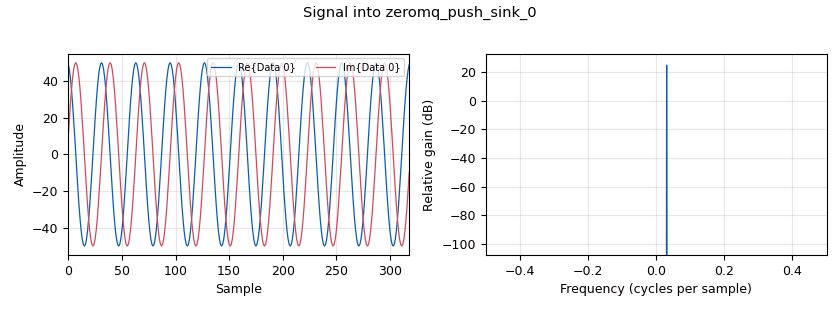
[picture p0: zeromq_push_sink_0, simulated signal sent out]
<?xml version='1.0' encoding='utf-8'?>
<?grc format='1' created='3.7.9'?>
<flow_graph>
<block>
<key>options</key>
<param><key>id</key><value>zmq_sine_test</value></param>
<param><key>category</key><value>Custom</value></param>
<param><key>generate_options</key><value>no_gui</value></param>
</block>
<block>
<key>variable</key>
<param><key>id</key><value>amplitude</value></param>
<param><key>value</key><value>50</value></param>
</block>
<block>
<key>variable</key>
<param><key>id</key><value>frequency</value></param>
<param><key>value</key><value>1000</value></param>
</block>
<block>
<key>variable</key>
<param><key>id</key><value>offset</value></param>
<param><key>value</key><value>0</value></param>
</block>
<block>
<key>variable</key>
<param><key>id</key><value>samp_rate</value></param>
<param><key>value</key><value>32000</value></param>
</block>
<block>
<key>analog_sig_source_x</key>
<param><key>id</key><value>analog_sig_source_x_0</value></param>
<param><key>amp</key><value>amplitude</value></param>
<param><key>freq</key><value>frequency</value></param>
<param><key>offset</key><value>offset</value></param>
<param><key>type</key><value>complex</value></param>
<param><key>samp_rate</key><value>samp_rate</value></param>
<param><key>waveform</key><value>analog.GR_COS_WAVE</value></param>
</block>
<block>
<key>baz_xmlrpc_server</key>
<param><key>id</key><value>baz_xmlrpc_server_0</value></param>
<param><key>addr</key><value>192.168.10.2</value></param>
<param><key>port</key><value>30000</value></param>
<param><key>sigs</key><value>{}</value></param>
</block>
<block>
<key>blocks_throttle</key>
<param><key>id</key><value>blocks_throttle_0</value></param>
<param><key>samples_per_second</key><value>samp_rate</value></param>
<param><key>type</key><value>complex</value></param>
</block>
<block>
<key>qtgui_freq_sink_x</key>
<param><key>id</key><value>qtgui_freq_sink_x_0</value></param>
<param><key>bw</key><value>samp_rate</value></param>
<param><key>fc</key><value>frequency</value></param>
<param><key>_enabled</key><value>0</value></param>
<param><key>fftsize</key><value>1024</value></param>
<param><key>showports</key><value>True</value></param>
<param><key>type</key><value>complex</value></param>
<param><key>wintype</key><value>firdes.WIN_BLACKMAN_hARRIS</value></param>
</block>
<block>
<key>qtgui_time_sink_x</key>
<param><key>id</key><value>qtgui_time_sink_x_0</value></param>
<param><key>_enabled</key><value>0</value></param>
<param><key>color1</key><value>"blue"</value></param>
<param><key>label1</key><value></value></param>
<param><key>color2</key><value>"red"</value></param>
<param><key>label2</key><value></value></param>
<param><key>size</key><value>1024</value></param>
<param><key>srate</key><value>samp_rate</value></param>
<param><key>type</key><value>complex</value></param>
</block>
<block>
<key>zeromq_push_sink</key>
<param><key>id</key><value>zeromq_push_sink_0</value></param>
<param><key>address</key><value>tcp://*:9231</value></param>
<param><key>type</key><value>complex</value></param>
<param><key>timeout</key><value>100</value></param>
</block>
<connection><source_block_id>analog_sig_source_x_0</source_block_id><sink_block_id>blocks_throttle_0</sink_block_id><source_key>0</source_key><sink_key>0</sink_key></connection>
<connection><source_block_id>blocks_throttle_0</source_block_id><sink_block_id>qtgui_freq_sink_x_0</sink_block_id><source_key>0</source_key><sink_key>0</sink_key></connection>
<connection><source_block_id>blocks_throttle_0</source_block_id><sink_block_id>qtgui_time_sink_x_0</sink_block_id><source_key>0</source_key><sink_key>0</sink_key></connection>
<connection><source_block_id>blocks_throttle_0</source_block_id><sink_block_id>zeromq_push_sink_0</sink_block_id><source_key>0</source_key><sink_key>0</sink_key></connection>
</flow_graph>
